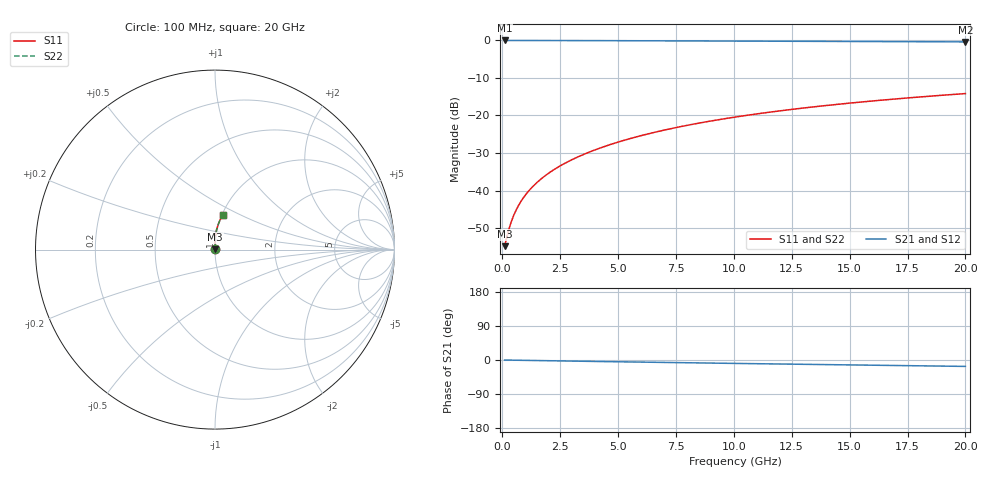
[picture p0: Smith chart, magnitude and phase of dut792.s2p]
! Touchstone file exported from HFSS 2024.1.0
!  File:  C:/UserFiles/LocalFiles/RDL_TSV_Batchsim/temp_RDL_bottom_792_1779861562.aedt
!  Generated:  02:02:09 PM May 27, 2026
!  Design:  RDL_bottom
!  Project:  temp_RDL_bottom_792_1779861562
!  Setup:  Setup1
!  Solution:  Sweep
! Variables:
!  dtsv = 10.80580581um
!  hbump = 3um
!  htsv = 55.52um
!  ldown = 190.35um
!  lrdl = 100um
!  p = 40
!  p1 = 54.85um
!  rhole = 1um
!  t = 450um
!  tdown = 2.32um
!  trdl = 3.915915916um
!  wdown = 24.41um
!  wrdl = 20um
# GHz S MA R 50.000000
! Terminal data exported
! Port[1] = RDL1_T1
! Port[2] = RDL1_T2
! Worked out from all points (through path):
!   200 points, 100 MHz to 20 GHz, reference 50 ohm
!   highest |S21| = -0.01 dB at 100 MHz (marker M1); lowest = -0.4 dB at 20 GHz (marker M2)
!   group delay of S21, straight-line fit = 2.32 ps
!   lowest |S11| = -54.8 dB at 100 MHz (marker M3), VSWR 1.00, Z = 50.2 + j0.0914 ohm
!   |S11| at or under -10 dB: start of sweep to end of sweep
!   |S22| runs from -54.8 to -14.2 dB; largest |S21 - S12| = 3.8e-15
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0.1  0.001815 30.2  0.9984 -0.1  0.9984 -0.1  0.001815 30.2
! Gamma 0 0 0 0
! Port Impedance 50 0 50 0
0.3  0.003154 58.5  0.9983 -0.3  0.9983 -0.3  0.003154 58.5
0.4  0.003931 64.4  0.9982 -0.4  0.9982 -0.4  0.003931 64.4
0.5  0.004721 68.4  0.9982 -0.5  0.9982 -0.5  0.004721 68.4
0.6  0.005515 71.3  0.9981 -0.6  0.9981 -0.6  0.005515 71.3
0.8  0.007112 75.3  0.9979 -0.8  0.9979 -0.8  0.007112 75.3
1.1  0.009533 79.1  0.9977 -1.1  0.9977 -1.1  0.009533 79.1
1.3  0.01117 80.9  0.9975 -1.3  0.9975 -1.3  0.01117 80.9
1.6  0.01365 82.8  0.9972 -1.6  0.9972 -1.6  0.01365 82.8
2.1  0.01786 85.0  0.9966 -2.0  0.9966 -2.0  0.01786 85.0
2.7  0.02305 86.7  0.9957 -2.6  0.9957 -2.6  0.02305 86.7
3.5  0.03018 88.0  0.9944 -3.4  0.9944 -3.4  0.03018 88.0
4.2  0.03662 88.7  0.993 -4.0  0.993 -4.0  0.03662 88.7
5  0.04419 89.1  0.9913 -4.7  0.9913 -4.7  0.04419 89.1
5.9  0.05294 89.1  0.9893 -5.5  0.9893 -5.5  0.05295 89.1
6.8  0.0619 88.9  0.9873 -6.3  0.9873 -6.3  0.0619 88.9
8.4  0.07817 88.0  0.9835 -7.6  0.9835 -7.6  0.07817 88.1
10.1  0.0957 86.8  0.9795 -9.1  0.9795 -9.1  0.09571 86.8
11.7  0.1122 85.4  0.9757 -10.4  0.9757 -10.4  0.1123 85.4
13.4  0.1297 83.8  0.9717 -11.7  0.9717 -11.7  0.1298 83.8
16.7  0.1632 80.7  0.9639 -14.3  0.9639 -14.3  0.1632 80.7
20  0.1957 77.6  0.9557 -16.9  0.9557 -16.9  0.1957 77.6
